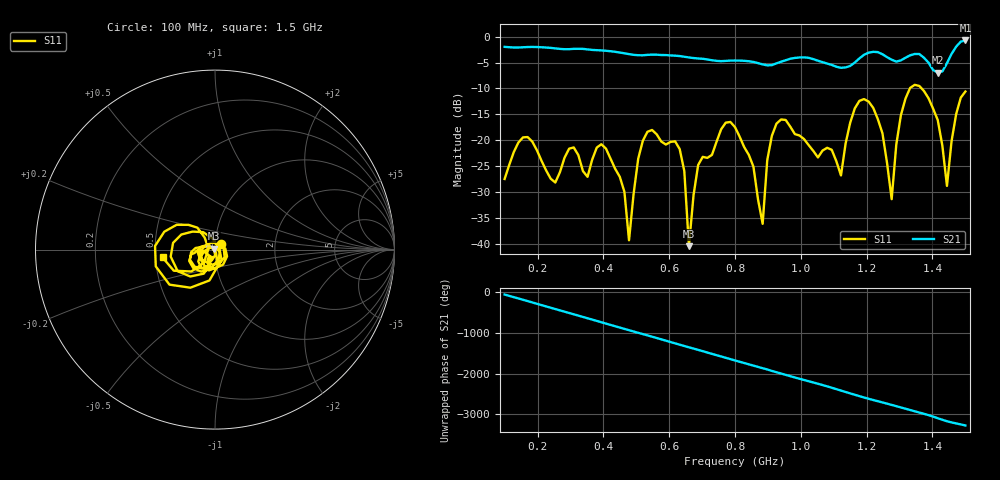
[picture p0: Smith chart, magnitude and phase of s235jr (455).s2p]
! NanoVNA-App
! Date: 2025-09-25 15:07:42
! Start: 100MHz Stop: 1,5GHz Points: 101
! S-Parameter data: F S11 S21 S12 S22
# Hz S RI R 50
!  Frequency  S11_Real  S11_Imag  S21_Real  S21_Imag  S12_Real  S12_Imag  S22_Real  S22_Imag
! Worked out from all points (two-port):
!   101 points, 100 MHz to 1.5 GHz, reference 50 ohm
!   highest |S21| = -0.73 dB at 1.5 GHz (marker M1); lowest = -6.9 dB at 1.416 GHz (marker M2)
!   |S21| within 3 dB of the highest: start of sweep to 629.9 MHz; 1.187 GHz to 1.256 GHz (69.1 MHz wide, 5.66 % of centre) (the widest 2 of 4)
!   lowest |S11| = -40.4 dB at 660 MHz (marker M3), VSWR 1.02, Z = 49.2 + j0.536 ohm
!   |S11| at or under -10 dB: start of sweep to 1.331 GHz; 1.367 GHz to end of sweep
!   S12 and S22 are empty: the file has one direction only
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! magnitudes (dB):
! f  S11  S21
! 100 MHz  -27.5  -2.0
! 156 MHz  -19.4  -2.0
! 338 MHz  -25.9  -2.4
! 408 MHz  -21.6  -2.7
! 478 MHz  -39.3  -3.4
! 520 MHz  -20.1  -3.6
! 576 MHz  -20.2  -3.5
! 632 MHz  -21.7  -3.7
! 660 MHz  -40.4  -4.0
! 688 MHz  -24.8  -4.2
! 800 MHz  -17.5  -4.6
! 884 MHz  -36.1  -5.4
! 898 MHz  -23.8  -5.5
! 926 MHz  -16.8  -5.1
! 1.038 GHz  -22.1  -4.3
! 1.122 GHz  -26.8  -6.0
! 1.206 GHz  -12.5  -3.1
! 1.276 GHz  -31.4  -4.4
! 1.332 GHz  -9.9  -3.6
! 1.416 GHz  -16.1  -6.9
! 1.444 GHz  -28.8  -5.1
! 1.5 GHz  -10.6  -0.7
